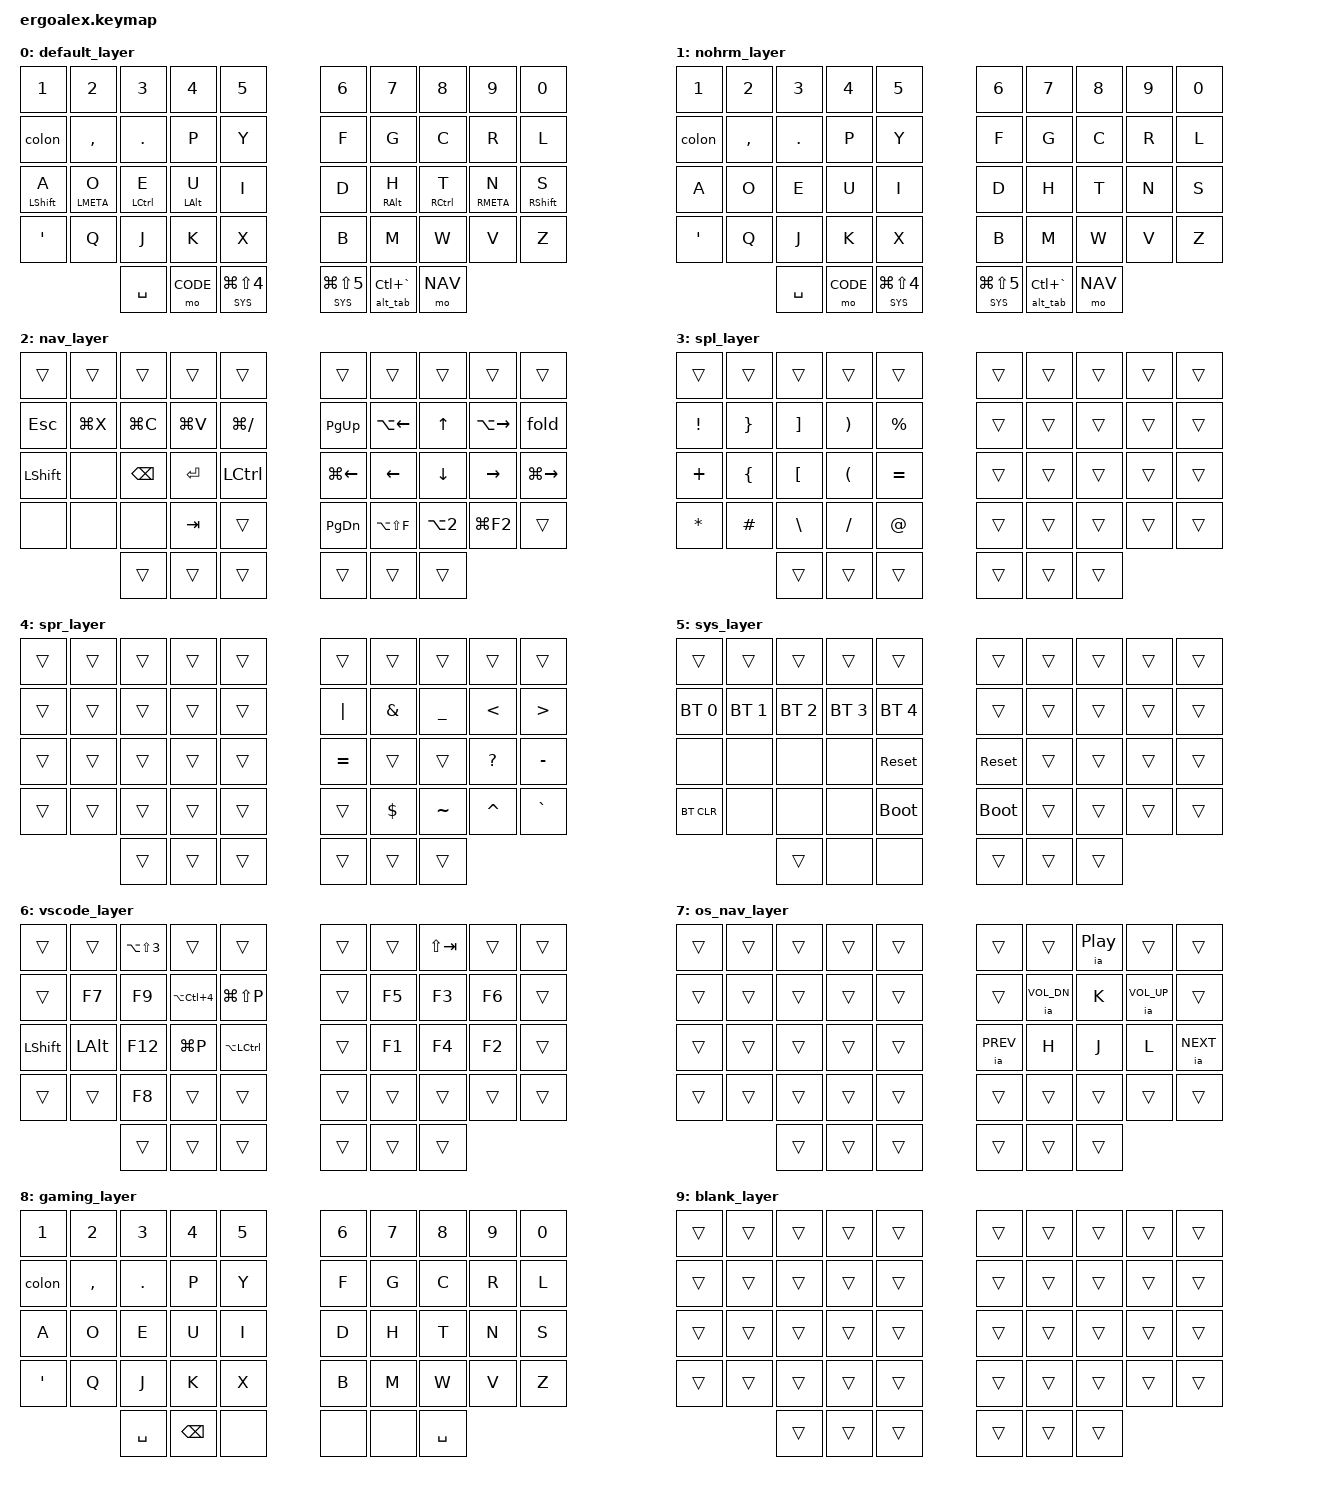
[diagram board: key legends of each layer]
#include <behaviors.dtsi>
#include <dt-bindings/zmk/keys.h>
#include <dt-bindings/zmk/bt.h>
#include "combos.dtsi"


#define XXX &none
#define ___ &trans

#define DEF 0
#define NOHRM 1
#define NAV 2
#define SPL 3
#define SPR 4
#define SYS 5
#define CODE 6
#define OSNAV 7
#define GAME 8

#define TAP 280 
#define IDLE 200

/ { 
    macros {
        clh: combo_layer_hybrid {
            compatible = "zmk,behavior-macro-two-param";
            #binding-cells = <2>;
            wait-ms = <0>;
            tap-ms = <0>;
            bindings
                = <&macro_param_1to1>
                , <&macro_press &mo MACRO_PLACEHOLDER>
                , <&macro_param_2to1>
                , <&macro_tap &kp MACRO_PLACEHOLDER>
                , <&macro_pause_for_release>
                , <&macro_param_1to1>
                , <&macro_release &mo MACRO_PLACEHOLDER>
                ;
        };

        alt_tab: alt_tab_macro {
            compatible = "zmk,behavior-macro";
            #binding-cells = <0>;
            wait-ms = <0>;
            tap-ms = <0>;
            bindings
                = <&macro_press &mo OSNAV &kp LCTRL>
                , <&macro_tap &kp LMETA>
                , <&macro_pause_for_release>
                , <&macro_release &mo OSNAV &kp LCTRL>
                ;
        };

        ia: ignore_alt_macro {
            compatible = "zmk,behavior-macro-one-param";
            #binding-cells = <1>;
            bindings
                = <&macro_release &kp LCTRL>
                , <&macro_param_1to1>
                , <&macro_tap &kp MACRO_PLACEHOLDER>
                ;
        };
        
        fold: fold_unfold_vscode {
            compatible = "zmk,behavior-macro";
            #binding-cells = <0>;
            bindings
                = <&macro_tap &kp LG(K)>
                , <&macro_tap &kp LG(L)>
                ;
        };

    };
    
    behaviors {    
        hr: home_row_mod_right_timeless {
            compatible = "zmk,behavior-hold-tap";
            #binding-cells = <2>;
            flavor = "balanced";
            tapping-term-ms = <TAP>;
            require-prior-idle-ms = <IDLE>;
            bindings = <&kp>, <&kp>;
            hold-trigger-key-positions = <0 1 2 3 4 10 11 12 13 14 20 21 22 23 24 30 31 32 33 34 40>; 
        }; 

        hl: home_row_mod_left_timeless {
            compatible = "zmk,behavior-hold-tap";
            #binding-cells = <2>;
            flavor = "balanced";
            tapping-term-ms = <TAP>;
            require-prior-idle-ms = <IDLE>;
            bindings = <&kp>, <&kp>;
            hold-trigger-key-positions = <5 6 7 8 9 15 16 17 18 19 25 26 27 28 29 35 36 37 38 39>; 
        };

        colon: colon {
            compatible = "zmk,behavior-mod-morph";
            #binding-cells = <0>;
            bindings = <&kp COLON>, <&kp SEMI>;
            mods = <(MOD_LSFT|MOD_RSFT)>;
        };

        
        sft: shift {
            compatible = "zmk,behavior-hold-tap";
            #binding-cells = <2>;
            flavor = "tap-preferred";
            tapping-term-ms = <150>;
            bindings = <&kp>, <&kp>; 
        };

        sys: system {
            compatible = "zmk,behavior-hold-tap";
            #binding-cells = <2>;
            flavor = "tap-preferred";
            tapping-term-ms = <250>;
            bindings = <&mo>, <&kp>;
        };

        sc_at: shortcat_alttab_holdtap {
            compatible = "zmk,behavior-hold-tap";
            #binding-cells = <2>;
            flavor = "tap-preferred";
            tapping-term-ms = <100>;
            bindings = <&alt_tab>, <&kp>;
            display-name = "shortcat-alttab-holdtap";
        };

    };

    keymap {
        compatible = "zmk,keymap";

        default_layer {
            bindings = <
                &kp N1        &kp N2        &kp N3      &kp N4      &kp N5                   &kp N6               &kp N7      &kp N8      &kp N9       &kp N0
                &colon        &kp COMMA     &kp DOT     &kp P       &kp Y                    &kp F                &kp G       &kp C       &kp R        &kp L
                &sft LSHFT A  &hl LMETA O   &hl LCTRL E &hl LALT U  &kp I                    &kp D                &hr RALT H  &hr RCTRL T &hr RMETA N  &sft RSHFT S
                &kp SQT       &kp Q         &kp J       &kp K       &kp X                    &kp B                &kp M       &kp W       &kp V        &kp Z
                                            &kp SPACE   &mo CODE    &sys SYS LG(LS(N4))      &sys SYS LG(LS(N5))  &sc_at 0 LC(GRAVE)  &mo NAV
            >;
        };

        nohrm_layer {
            bindings = <
                &kp N1        &kp N2        &kp N3      &kp N4      &kp N5                   &kp N6               &kp N7      &kp N8      &kp N9       &kp N0
                &colon        &kp COMMA     &kp DOT     &kp P       &kp Y                    &kp F                &kp G       &kp C       &kp R        &kp L
                &kp A         &kp O         &kp E       &kp U       &kp I                    &kp D                &kp H       &kp T       &kp N        &kp S
                &kp SQT       &kp Q         &kp J       &kp K       &kp X                    &kp B                &kp M       &kp W       &kp V        &kp Z
                                            &kp SPACE   &mo CODE    &sys SYS LG(LS(N4))      &sys SYS LG(LS(N5))  &sc_at 0 LC(GRAVE)  &mo NAV
            >;
        };
   
        nav_layer {
            bindings = <
            ___        ___        ___        ___        ___                ___           ___            ___         ___            ___
            &kp ESC    &kp LG(X)  &kp LG(C)  &kp LG(V)  &kp LG(FSLH)       &kp PG_UP     &kp LA(LEFT)   &kp UP      &kp LA(RIGHT)  &fold
            &kp LSHFT  XXX        &kp BSPC   &kp RET    &kp LCTRL          &kp LG(LEFT)  &kp LEFT       &kp DOWN    &kp RIGHT      &kp LG(RIGHT)
            XXX        XXX        XXX        &kp TAB    ___                &kp PG_DN     &kp LA(LS(F))  &kp LA(N2)  &kp LG(F2)     ___ 
                                  ___        ___        ___                ___           ___            ___
            >;
        };

        spl_layer {
            bindings = <
                ___       ___       ___       ___       ___           ___  ___  ___  ___  ___
                &kp EXCL  &kp RBRC  &kp RBKT  &kp RPAR  &kp PRCNT     ___  ___  ___  ___  ___
                &kp PLUS  &kp LBRC  &kp LBKT  &kp LPAR  &kp EQUAL     ___  ___  ___  ___  ___
                &kp STAR  &kp HASH  &kp BSLH  &kp FSLH  &kp AT        ___  ___  ___  ___  ___
                                    ___       ___       ___           ___  ___  ___
            >;
        };

        spr_layer {
            bindings = <
                ___  ___  ___  ___  ___     ___        ___       ___        ___        ___
                ___  ___  ___  ___  ___     &kp PIPE   &kp AMPS  &kp UNDER  &kp LT     &kp GT
                ___  ___  ___  ___  ___     &kp EQUAL  ___       ___        &kp QMARK  &kp MINUS
                ___  ___  ___  ___  ___     ___        &kp DLLR  &kp TILDE  &kp CARET  &kp GRAVE
                          ___  ___  ___     ___        ___       ___
            >;
        };

        sys_layer {
            bindings = <
                ___           ___           ___           ___           ___               ___          ___  ___  ___  ___
                &bt BT_SEL 0  &bt BT_SEL 1  &bt BT_SEL 2  &bt BT_SEL 3  &bt BT_SEL 4      ___          ___  ___  ___  ___
                XXX           XXX           XXX           XXX           &sys_reset        &sys_reset   ___  ___  ___  ___
                &bt BT_CLR    XXX           XXX           XXX           &bootloader       &bootloader  ___  ___  ___  ___
                                            ___           XXX           XXX               ___          ___  ___
            >;
         };

        vscode_layer {
            bindings = <
                ___        ___        &kp LA(LS(N3)) ___             ___                ___  ___     &kp LS(TAB)  ___     ___
                ___        &kp F7     &kp F9         &kp LA(LC(N4))  &kp LG(LS(P))      ___  &kp F5  &kp F3       &kp F6  ___
                &kp LSHFT  &kp LALT   &kp F12        &kp LG(P)       &kp LA(LCTRL)      ___  &kp F1  &kp F4       &kp F2  ___
                ___        ___        &kp F8         ___             ___                ___  ___     ___          ___     ___
                                      ___            ___             ___                ___  ___     ___
            >;
        };

        os_nav_layer {
            bindings = <
                ___         ___           ___           ___       ___            ___         ___           &ia C_PP  ___           ___
                ___         ___           ___           ___       ___            ___         &ia C_VOL_DN  &kp K     &ia C_VOL_UP  ___
                ___         ___           ___           ___       ___            &ia C_PREV  &kp H         &kp J     &kp L         &ia C_NEXT 
                ___         ___           ___           ___       ___            ___         ___           ___       ___           ___
                                          ___           ___       ___            ___         ___           ___
            >;
        };

        gaming_layer {
            bindings = <
                &kp N1      &kp N2     &kp N3     &kp N4    &kp N5    &kp N6  &kp N7  &kp N8     &kp N9  &kp N0
                &colon      &kp COMMA  &kp DOT    &kp P     &kp Y     &kp F   &kp G   &kp C      &kp R   &kp L
                &kp A       &kp O      &kp E      &kp U     &kp I     &kp D   &kp H   &kp T      &kp N   &kp S
                &kp SQT     &kp Q      &kp J      &kp K     &kp X     &kp B   &kp M   &kp W      &kp V   &kp Z
                                       &kp SPACE  &kp BSPC  XXX       XXX     XXX     &kp SPACE
            >;
        };

        blank_layer {
            bindings = <
                ___  ___  ___  ___  ___     ___  ___  ___  ___  ___
                ___  ___  ___  ___  ___     ___  ___  ___  ___  ___
                ___  ___  ___  ___  ___     ___  ___  ___  ___  ___
                ___  ___  ___  ___  ___     ___  ___  ___  ___  ___
                          ___  ___  ___     ___  ___  ___
            >;
        };

        // qwerty_layer {
        //     bindings = <
        //         &kp N1        &kp N2  &kp N3     &kp N4     &kp N5                   &kp N6   &kp N7  &kp N8     &kp N9   &kp N0
        //         &kp Q         &kp W   &kp E      &kp R      &kp T                    &kp Y    &kp U   &kp I      &kp O    &kp P
        //         &sft LSHFT A  &kp S   &kp D      &kp F      &kp G                    &kp H    &kp J   &kp K      &kp L    &sft RSHFT SEMI
        //         &kp Z         &kp X   &kp C      &kp V      &kp B                    &kp N    &kp M   &kp COMMA  &kp DOT  &kp FSLH
        //                               &kp SPACE  &mo CODE1  &sys SYS LG(LS(N4))      &mo SYS  &qwerty &mo NAV
        //     >;
        // };

    };
};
